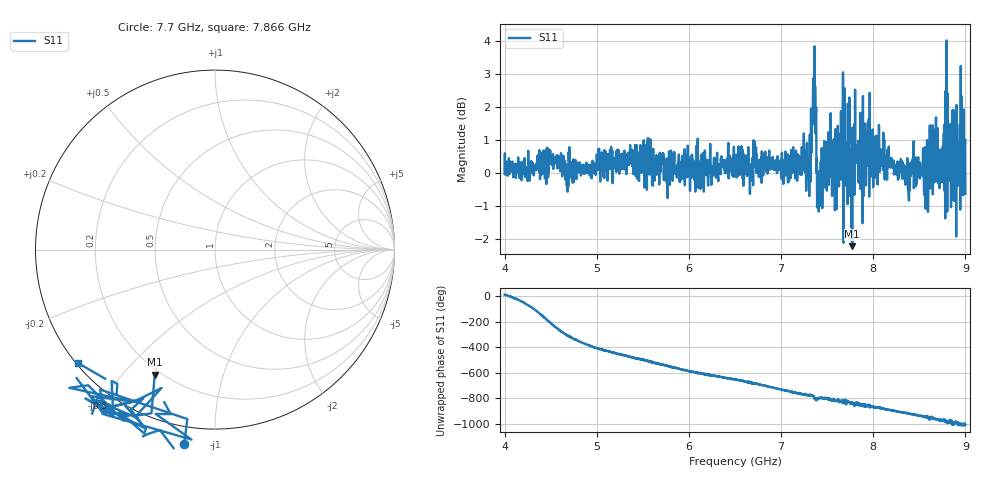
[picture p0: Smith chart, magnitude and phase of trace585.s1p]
! Created with skrf 1.8.0 (http://scikit-rf.org).
# Hz S RI R 50.0
!freq ReS11 ImS11
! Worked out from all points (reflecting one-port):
!   1601 points, 4 GHz to 9 GHz, reference 50 ohm
!   lowest |S11| = -2.2 dB at 7.772 GHz (marker M1), VSWR 7.83, Z = 8.85 - j30.7 ohm
!   phase of S11 starts at 10 deg and turns -1017 deg over the sweep
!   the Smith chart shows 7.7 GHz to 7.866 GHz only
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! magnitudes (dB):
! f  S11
! 4 GHz  0.0
! 4.625 GHz  -0.1
! 4.753 GHz  0.3
! 5.25 GHz  0.3
! 5.572 GHz  -0.1
! 5.619 GHz  0.4
! 5.875 GHz  0.2
! 6.5 GHz  0.3
! 7.125 GHz  0.3
! 7.294 GHz  0.4
! 7.356 GHz  2.8
! 7.412 GHz  -1.0
! 7.466 GHz  0.3
! 7.622 GHz  0.1
! 7.675 GHz  0.8
! 7.75 GHz  0.1
! 7.772 GHz  -2.2
! 7.8 GHz  -0.6
! 7.906 GHz  0.8
! 7.928 GHz  0.2
! 8.375 GHz  -0.1
! 8.434 GHz  0.5
! 8.575 GHz  -0.5
! 8.816 GHz  0.0
! 8.875 GHz  0.5
! 8.959 GHz  2.3
! 8.972 GHz  0.5
! 9 GHz  -0.6
